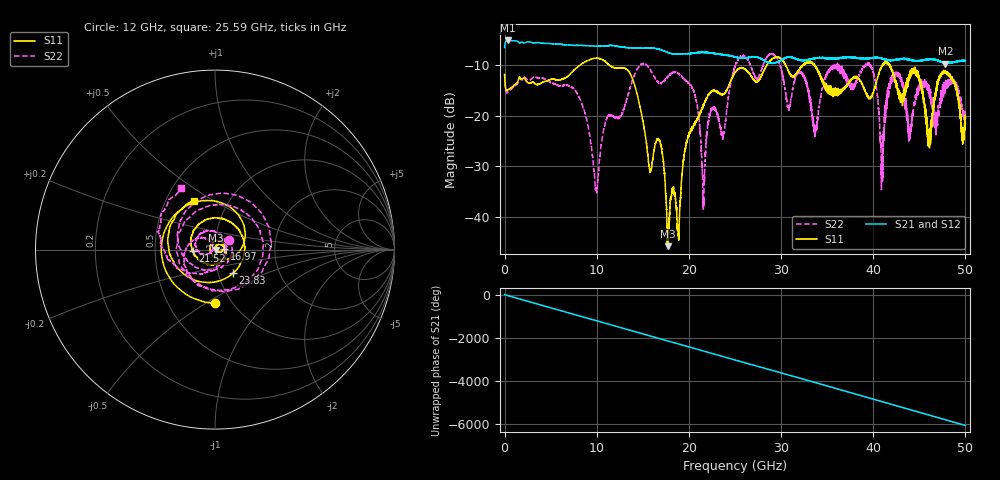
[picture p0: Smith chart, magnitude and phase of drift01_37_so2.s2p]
!Created with skrf (http://scikit-rf.org).
# Hz S RI R 50.0
!freq ReS11 ImS11 ReS21 ImS21 ReS12 ImS12 ReS22 ImS22
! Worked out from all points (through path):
!   10001 points, 300 kHz to 50 GHz, reference 50 ohm
!   highest |S21| = -5.05 dB at 325.3 MHz (marker M1); lowest = -9.6 dB at 47.84 GHz (marker M2)
!   group delay of S21, straight-line fit = 336 ps
!   lowest |S11| = -45.9 dB at 17.7 GHz (marker M3), VSWR 1.01, Z = 50.5 - j0.133 ohm
!   |S11| at or under -10 dB: start of sweep to 8.152 GHz; 11.41 GHz to 28.44 GHz (17.02 GHz wide, 85.4 % of centre); 41.79 GHz to end of sweep (the widest 3 of 8)
!   |S22| runs from -38.8 to -7.7 dB; largest |S21 - S12| = 0.014
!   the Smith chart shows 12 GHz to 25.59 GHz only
!   S11 on the Smith chart (normalised r, x): 12 GHz: 0.83, -0.54; 16.97 GHz: 1.10, +0.01; 21.52 GHz: 0.78, -0.02; 23.83 GHz: 1.18, -0.32; 25.59 GHz: 0.69, +0.41
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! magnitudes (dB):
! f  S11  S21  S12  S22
! 300 kHz  -11.8  -6.4  -6.5  -11.7
! 325.3 MHz  -14.9  -5.1  -5.1  -15.4
! 8.335 GHz  -9.7  -6.0  -6.0  -17.4
! 9.935 GHz  -8.6  -6.2  -6.2  -34.4
! 12 GHz  -10.5  -6.1  -6.1  -20.4
! 15.78 GHz  -31.0  -6.5  -6.5  -10.8
! 16.67 GHz  -24.6  -6.8  -6.7  -13.4
! 16.97 GHz  -26.0  -6.9  -6.9  -13.5
! 17.7 GHz  -45.9  -7.4  -7.4  -12.3
! 20.5 GHz  -22.1  -7.5  -7.6  -15.0
! 21.52 GHz  -18.1  -7.4  -7.4  -34.8
! 22.45 GHz  -15.1  -7.6  -7.5  -18.8
! 23.83 GHz  -15.6  -7.9  -7.9  -23.6
! 25 GHz  -11.4  -8.3  -8.4  -10.3
! 25.59 GHz  -10.6  -8.6  -8.6  -8.2
! 33.34 GHz  -9.5  -8.7  -8.7  -19.4
! 39.49 GHz  -16.5  -8.6  -8.6  -9.9
! 40.95 GHz  -10.0  -8.6  -8.6  -29.0
! 41.67 GHz  -9.8  -8.8  -9.0  -15.0
! 46.1 GHz  -26.0  -8.8  -8.8  -15.0
! 47.84 GHz  -11.2  -9.6  -9.6  -14.3
! 50 GHz  -20.4  -9.1  -9.2  -20.4
